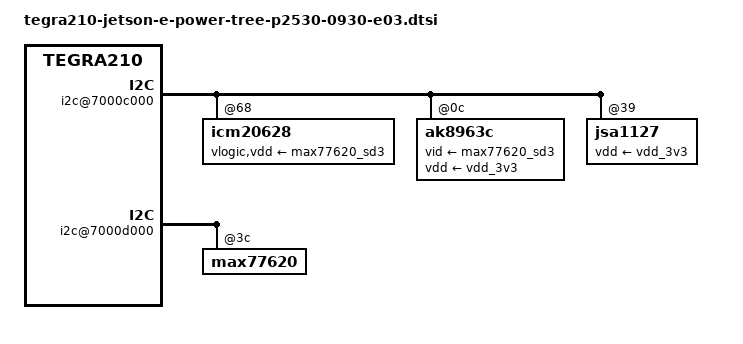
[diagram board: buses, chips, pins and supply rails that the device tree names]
/*
 * Copyright (c) 2014, NVIDIA CORPORATION.  All rights reserved.
 *
 * This program is free software; you can redistribute it and/or modify
 * it under the terms of the GNU General Public License as published by
 * the Free Software Foundation; either version 2 of the License, or
 * (at your option) any later version.
 *
 * This program is distributed in the hope that it will be useful, but WITHOUT
 * ANY WARRANTY; without even the implied warranty of MERCHANTABILITY or
 * FITNESS FOR A PARTICULAR PURPOSE.  See the GNU General Public License for
 * more details.
 *
 * You should have received a copy of the GNU General Public License along
 * along with this program. If not, see <http://www.gnu.org/licenses/>.
 */

#include "tegra210-jetson-common-power-tree-p2530-0930-e03.dtsi"

/ {
	pmc-iopower {
		vddio-sys-supply = <&max77620_sd3>;
		vddio-uart-supply = <&max77620_sd3>;
		vddio-audio-supply = <&max77620_sd3>;
		vddio-cam-supply = <&max77620_sd3>;
		vddio-pex-ctrl-supply = <&max77620_sd3>;
		vddio-sdmmc1-supply = <&max77620_ldo2>;
		vddio-sdmmc3-supply = <&max77620_sd3>;
		vddio-sdmmc4-supply = <&max77620_sd3>;
		vddio-audio-hv-supply = <&max77620_sd3>;
		vddio-debug-supply = <&max77620_sd3>;
		vddio-dbg-supply = <&max77620_sd3>;
		vddio-dmic-supply = <&max77620_sd3>;
		vddio-gpio-supply = <&max77620_sd3>;
		vddio-spi-supply = <&max77620_sd3>;
		vddio-spi-hv-supply = <&max77620_sd3>;
		vddio-sdmmc2-supply = <&max77620_sd3>;
		vddio-dp-supply = <&max77620_sd3>;
	};

	i2c@7000c000 {
		icm20628@68 {
			vlogic-supply = <&max77620_sd3>;
			vdd-supply = <&max77620_sd3>;
		};

		ak8963c@0c {
			vid-supply = <&max77620_sd3>;
			vdd-supply = <&vdd_3v3>;
		};

		jsa1127@39 {
			vdd-supply = <&vdd_3v3>;
		};
	};

	i2c@7000d000 {
		max77620@3c {
			regulators {
				ldo6 {
					regulator-always-on;
					regulator-boot-on;
				};
			};
		};
	};
};
